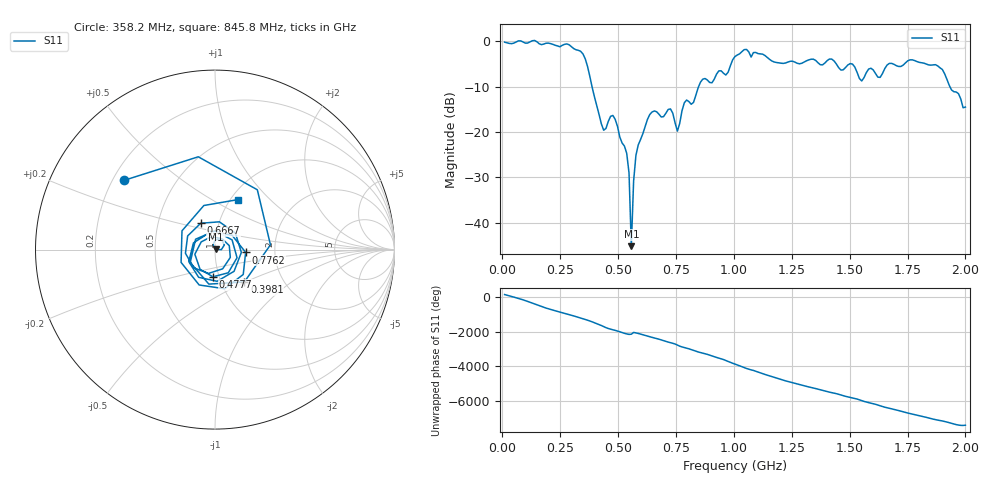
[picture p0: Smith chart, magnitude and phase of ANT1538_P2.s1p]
!Created with skrf (http://scikit-rf.org).
# Hz S RI R 50.0
!freq ReS11 ImS11
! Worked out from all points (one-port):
!   201 points, 10 MHz to 2 GHz, reference 50 ohm
!   lowest |S11| = -45.1 dB at 557.2 MHz (marker M1), VSWR 1.01, Z = 50.5 + j0.0977 ohm
!   |S11| at or under -10 dB: 387.4 MHz to 848 MHz (460.6 MHz wide, 74.6 % of centre); 1.933 GHz to end of sweep
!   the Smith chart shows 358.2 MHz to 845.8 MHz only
!   S11 on the Smith chart (normalised r, x): 358.2 MHz: 0.24, +0.32; 398.1 MHz: 1.29, -0.49; 477.6 MHz: 0.93, -0.29; 666.7 MHz: 0.82, +0.25; 776.1 MHz: 1.41, -0.05; 845.8 MHz: 1.08, +0.67
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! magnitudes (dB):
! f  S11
! 10 MHz  -0.2
! 258.8 MHz  -0.9
! 358.2 MHz  -3.9
! 398.1 MHz  -12.3
! 437.9 MHz  -19.6
! 477.6 MHz  -16.4
! 507.5 MHz  -21.1
! 537.4 MHz  -24.7
! 547.3 MHz  -29.0
! 557.2 MHz  -45.1
! 567.2 MHz  -30.7
! 577.1 MHz  -25.1
! 636.9 MHz  -16.2
! 666.7 MHz  -15.6
! 726.4 MHz  -14.9
! 756.2 MHz  -19.8
! 776.1 MHz  -15.3
! 845.8 MHz  -10.3
! 965.2 MHz  -7.5
! 1.005 GHz  -3.4
! 1.254 GHz  -4.4
! 1.502 GHz  -4.9
! 1.552 GHz  -8.8
! 1.582 GHz  -6.2
! 1.632 GHz  -8.0
! 1.751 GHz  -4.3
! 1.901 GHz  -6.2
! 2 GHz  -14.5
